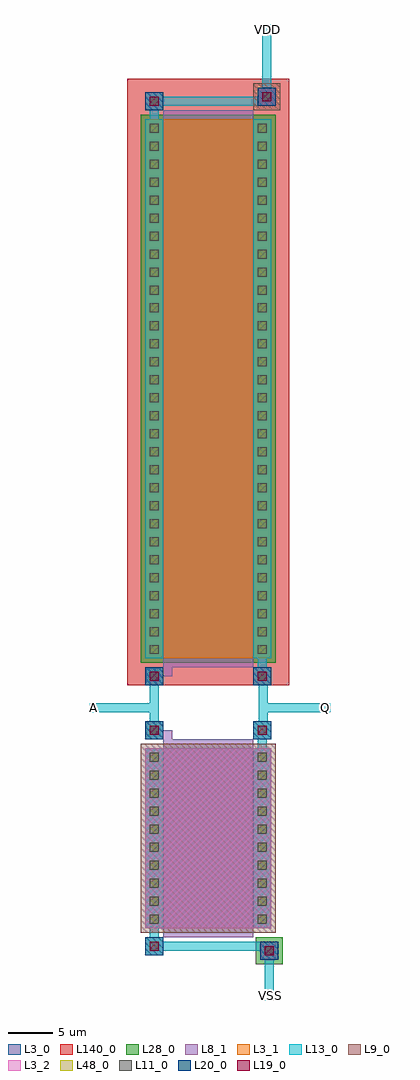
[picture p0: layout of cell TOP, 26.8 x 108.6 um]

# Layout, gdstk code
import gdstk
lib = gdstk.Library(unit=1e-6, precision=1e-07)
def R(c, l, rs):  # rectangles x0, y0, x1, y1
    for r in rs: c.add(gdstk.rectangle(r[:2], r[2:], *l))
def A(c, l, x, y, w, h, nx, ny, dx, dy):  # array of equal rectangles
    R(c, l, [(x+i*dx, y+j*dy, x+i*dx+w, y+j*dy+h) for i in range(nx) for j in range(ny)])
L3_0 = (3, 0)
L3_1 = (3, 1)
L3_2 = (3, 2)
L8_1 = (8, 1)
L9_0 = (9, 0)
L11_0 = (11, 0)
L13_0 = (13, 0)
L19_0 = (19, 0)
L20_0 = (20, 0)
L28_0 = (28, 0)
L48_0 = (48, 0)
L140_0 = (140, 0)

top = lib.new_cell('TOP')
A(top, L3_0, -8, -32, 2, 2, 1, 10, 0, 2)
A(top, L3_0, 4, -32, 2, 2, 1, 10, 0, 2)
A(top, L3_0, -8, -2, 2, 2, 1, 30, 0, 2)
A(top, L3_0, 4, -2, 2, 2, 1, 30, 0, 2)
R(top, L3_0, [(4.8,-35.5,6.8,-33.5), (-8,-32,6,-12), (-8,-2,6,58), (4.5,59.5,6.5,61.5)])
R(top, L3_1, [(-8,-2,6,58)])
R(top, L3_2, [(4.8,-35.5,6.8,-33.5), (-8,-32,6,-12), (4.5,59.5,6.5,61.5)])
R(top, L8_1, [(-8,-11,-6,-9), (-8,-5,-6,-3)])
R(top, L9_0, [(-8.5,-32.5,6.5,-11.5), (4,59,7,62)])
A(top, L11_0, -7.5, -31.5, 1, 1, 1, 10, 0, 2)
A(top, L11_0, 4.5, -31.5, 1, 1, 1, 10, 0, 2)
A(top, L11_0, -7.5, -1.5, 1, 1, 1, 30, 0, 2)
A(top, L11_0, 4.5, -1.5, 1, 1, 1, 30, 0, 2)
R(top, L11_0, [(5.3,-35,6.3,-34), (-7.5,-10.5,-6.5,-9.5), (-7.5,-4.5,-6.5,-3.5), (5,60,6,61)])
A(top, L13_0, -8, -32, 2, 2, 1, 10, 0, 2)
A(top, L13_0, 4, -32, 2, 2, 1, 10, 0, 2)
A(top, L13_0, -8, -2, 2, 2, 1, 30, 0, 2)
A(top, L13_0, 4, -2, 2, 2, 1, 30, 0, 2)
R(top, L13_0, [(4.8,-35.5,6.8,-33.5), (4.8,-35.5,6.8,-33.5), (-8,-35,-6,-33), (-8,-11,-6,-9), (-8,-11,-6,-9), (4,-11,6,-9), (-8,-5,-6,-3), (-8,-5,-6,-3), (4,-5,6,-3), (-8,59,-6,61), (4.5,59.5,6.5,61.5), (4.5,59.5,6.5,61.5)])
R(top, L19_0, [(5.3,-35,6.3,-34), (-7.5,-34.5,-6.5,-33.5), (-7.5,-10.5,-6.5,-9.5), (4.5,-10.5,5.5,-9.5), (-7.5,-4.5,-6.5,-3.5), (4.5,-4.5,5.5,-3.5), (-7.5,59.5,-6.5,60.5), (5,60,6,61)])
R(top, L20_0, [(4.8,-35.5,6.8,-33.5), (-8,-35,-6,-33), (-8,-11,-6,-9), (4,-11,6,-9), (-8,-5,-6,-3), (4,-5,6,-3), (-8,59,-6,61), (4.5,59.5,6.5,61.5)])
R(top, L28_0, [(4.3,-36,7.3,-33), (-8.5,-2.5,6.5,58.5)])
A(top, L48_0, -7.5, -31.5, 1, 1, 1, 10, 0, 2)
A(top, L48_0, 4.5, -31.5, 1, 1, 1, 10, 0, 2)
A(top, L48_0, -7.5, -1.5, 1, 1, 1, 30, 0, 2)
A(top, L48_0, 4.5, -1.5, 1, 1, 1, 30, 0, 2)
R(top, L48_0, [(5.3,-35,6.3,-34), (5.3,-35,6.3,-34), (-7.5,-34.5,-6.5,-33.5), (-7.5,-10.5,-6.5,-9.5), (-7.5,-10.5,-6.5,-9.5), (4.5,-10.5,5.5,-9.5), (-7.5,-4.5,-6.5,-3.5), (-7.5,-4.5,-6.5,-3.5), (4.5,-4.5,5.5,-3.5), (-7.5,59.5,-6.5,60.5), (5,60,6,61), (5,60,6,61)])
R(top, L140_0, [(-10,-5,8,62.5), (3.5,58.5,7.5,62.5)])
top.add(gdstk.FlexPath([(-7,-2),(-7,58)], 2, ends="flush", simple_path=True, layer=13, datatype=0))  # L13_0
top.add(gdstk.FlexPath([(5,-2),(5,58)], 2, ends="flush", simple_path=True, layer=13, datatype=0))  # L13_0
top.add(gdstk.FlexPath([(-7,57),(-7,60)], 1, ends="flush", simple_path=True, layer=13, datatype=0))  # L13_0
top.add(gdstk.FlexPath([(5,-4),(5,-1)], 1, ends="flush", simple_path=True, layer=13, datatype=0))  # L13_0
top.add(gdstk.FlexPath([(-7,-32),(-7,-12)], 2, ends="flush", simple_path=True, layer=13, datatype=0))  # L13_0
top.add(gdstk.FlexPath([(5,-32),(5,-12)], 2, ends="flush", simple_path=True, layer=13, datatype=0))  # L13_0
top.add(gdstk.FlexPath([(-7,-34),(-7,-31)], 1, ends="flush", simple_path=True, layer=13, datatype=0))  # L13_0
top.add(gdstk.FlexPath([(5,-13),(5,-10)], 1, ends="flush", simple_path=True, layer=13, datatype=0))  # L13_0
top.add(gdstk.FlexPath([(5.1,-4),(5.1,-10.1)], 1, ends="flush", simple_path=True, layer=13, datatype=0))  # L13_0
top.add(gdstk.FlexPath([(-7,-3.9),(-7,-9.9)], 1, ends="flush", simple_path=True, layer=13, datatype=0))  # L13_0
top.add(gdstk.FlexPath([(-6.9,-34),(5.8,-34),(5.8,-40)], 1, ends="flush", simple_path=True, layer=13, datatype=0))  # L13_0
top.add(gdstk.FlexPath([(5.1,-7.5),(12.6,-7.5)], 1, ends="flush", simple_path=True, layer=13, datatype=0))  # L13_0
top.add(gdstk.FlexPath([(-6.9,-7.5),(-14.2,-7.5)], 1, ends="flush", simple_path=True, layer=13, datatype=0))  # L13_0
top.add(gdstk.FlexPath([(-6.9,60),(5.5,60),(5.5,68.6)], 1, ends="flush", simple_path=True, layer=13, datatype=0))  # L13_0
top.add(gdstk.FlexPath([(-1,-2),(-1,58)], 10, ends=(1, 1), simple_path=True, layer=8, datatype=1))  # L8_1
top.add(gdstk.FlexPath([(-7,-3.5),(-5.5,-3.5),(-5.5,-3)], 1, ends="flush", simple_path=True, layer=8, datatype=1))  # L8_1
top.add(gdstk.FlexPath([(-1,-32),(-1,-12)], 10, ends=(1, 1), simple_path=True, layer=8, datatype=1))  # L8_1
top.add(gdstk.FlexPath([(-7,-10.5),(-5.5,-10.5),(-5.5,-11)], 1, ends="flush", simple_path=True, layer=8, datatype=1))  # L8_1
top.add(gdstk.Label('VDD', (5.6,68), layer=13, texttype=0))
top.add(gdstk.Label('VSS', (5.9,-39.5), layer=13, texttype=0))
top.add(gdstk.Label('Q', (12,-7.5), layer=13, texttype=0))
top.add(gdstk.Label('A', (-13.8,-7.5), layer=13, texttype=0))

lib.write_gds('TOP.gds')
